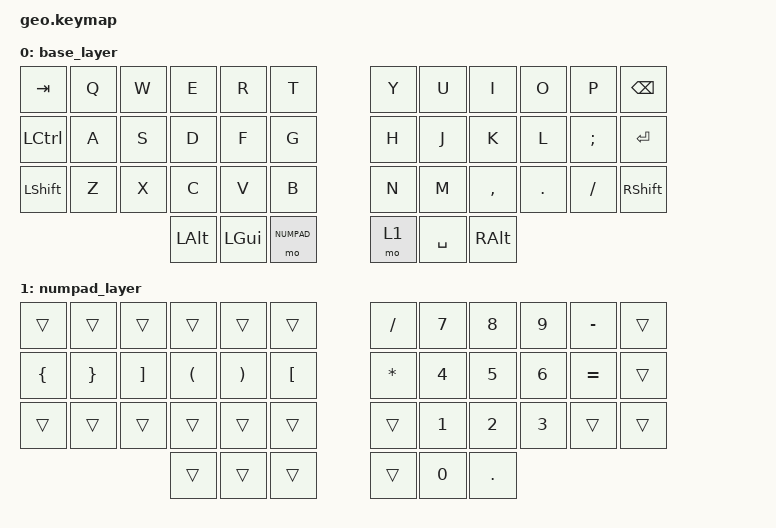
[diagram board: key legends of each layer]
/*
 * Copyright (c) 2020 The ZMK Contributors
 *
 * SPDX-License-Identifier: MIT
 */

#include <behaviors.dtsi>
#include <dt-bindings/zmk/keys.h>
#include <dt-bindings/zmk/bt.h>

#define BASE 0
#define NUMPAD 1

#define LCMD LGUI
#define LOPT LALT
#define RCMD RGUI
#define ROPT RALT

/ {
  keymap {
    compatible = "zmk,keymap";
    base_layer {
      bindings = <
// ┏━━━━━━━┯━━━━━━━┯━━━━━━━┯━━━━━━━┯━━━━━━━┯━━━━━━━┓     ┏━━━━━━━┯━━━━━━━┯━━━━━━━┯━━━━━━━┯━━━━━━━┯━━━━━━━┓
// ┃  TAB  │   Q   │   W   │   E   │   R   │   T   ┃     ┃   Y   │   U   │   I   │   O   │   P   │  BKSP ┃
// ┠───────┼───────┼───────┼───────┼───────┼───────┨     ┠───────┼───────┼───────┼───────┼───────┼───────┨
// ┃ CTRL  │   A   │   S   │   D   │   F   │   G   ┃     ┃   H   │   J   │   K   │   L   │   ;   │  RET  ┃
// ┠───────┼───────┼───────┼───────┼───────┼───────┨     ┠───────┼───────┼───────┼───────┼───────┼───────┨
// ┃ SHFT  │   Z   │   X   │   C   │   V   │   B   ┃     ┃   N   │   M   │   ,   │  .    │   /   │  SHFT ┃
// ┗━━━━━━━┷━━━━━━━┷━━━━━━━╅───────┼───────┼───────┨     ┠───────┼───────┼───────╆━━━━━━━┷━━━━━━━┷━━━━━━━┛
//                         ┃  OPT  │  CMD  │ NUMPD ┃     ┃ NUMPD │  SPC  │  OPT  ┃
//                         ┗━━━━━━━┷━━━━━━━┷━━━━━━━┛     ┗━━━━━━━┷━━━━━━━┷━━━━━━━┛
    &kp TAB    &kp Q  &kp W  &kp E    &kp R    &kp T      &kp Y    &kp U      &kp I      &kp O    &kp P     &kp BSPC
    &kp LCTRL  &kp A  &kp S  &kp D    &kp F    &kp G      &kp H    &kp J      &kp K      &kp L    &kp SEMI  &kp RET
    &kp LSHFT  &kp Z  &kp X  &kp C    &kp V    &kp B      &kp N    &kp M      &kp COMMA  &kp DOT  &kp FSLH  &kp RSHFT
                             &kp LOPT &kp LCMD &mo NUMPAD &mo 1    &kp SPACE  &kp ROPT
      >;
    };

    numpad_layer {
      bindings = <
// ┏━━━━━━━┯━━━━━━━┯━━━━━━━┯━━━━━━━┯━━━━━━━┯━━━━━━━┓     ┏━━━━━━━┯━━━━━━━┯━━━━━━━┯━━━━━━━┯━━━━━━━┯━━━━━━━┓
// ┃       │       │       │       │       │       ┃     ┃  / ?  │   7   │   8   │   9   │  - _  │       ┃
// ┠───────┼───────┼───────┼───────┼───────┼───────┨     ┠───────┼───────┼───────┼───────┼───────┼───────┨
// ┃   {   │   }   │   (   │   )   │   [   │   ]   ┃     ┃   *   │   4   │   5   │   6   │  = +  │       ┃
// ┠───────┼───────┼───────┼───────┼───────┼───────┨     ┠───────┼───────┼───────┼───────┼───────┼───────┨
// ┃       │       │       │       │       │       ┃     ┃       │   1   │   2   │   3   │       │       ┃
// ┗━━━━━━━┷━━━━━━━┷━━━━━━━╅───────┼───────┼───────┨     ┠───────┼───────┼───────╆━━━━━━━┷━━━━━━━┷━━━━━━━┛
//                         ┃       │       │       ┃     ┃       │   0   │   .   ┃
//                         ┗━━━━━━━┷━━━━━━━┷━━━━━━━┛     ┗━━━━━━━┷━━━━━━━┷━━━━━━━┛
    &trans   &trans   &trans   &trans   &trans   &trans   &kp SLASH  &kp N7  &kp N8  &kp N9  &kp MINUS &trans
    &kp LBRC &kp RBRC &kp RBKT &kp LPAR &kp RPAR &kp LBKT &kp STAR  &kp N4  &kp N5  &kp N6  &kp EQUAL  &trans
    &trans   &trans   &trans   &trans   &trans   &trans   &trans  &kp N1  &kp N2  &kp N3  &trans  &trans
                               &trans   &trans   &trans   &trans  &kp N0  &kp DOT
      >;
    };
};

// XXX_layer {
//   bindings = <
// ┏━━━━━━━┯━━━━━━━┯━━━━━━━┯━━━━━━━┯━━━━━━━┯━━━━━━━┓  ┏━━━━━━━┯━━━━━━━┯━━━━━━━┯━━━━━━━┯━━━━━━━┯━━━━━━━┓
// ┃       │       │       │       │       │       ┃  ┃       │       │       │       │       │       ┃
// ┠───────┼───────┼───────┼───────┼───────┼───────┨  ┠───────┼───────┼───────┼───────┼───────┼───────┨
// ┃       │       │       │       │       │       ┃  ┃       │       │       │       │       │       ┃
// ┠───────┼───────┼───────┼───────┼───────┼───────┨  ┠───────┼───────┼───────┼───────┼───────┼───────┨
// ┃       │       │       │       │       │       ┃  ┃       │       │       │       │       │       ┃
// ┗━━━━━━━┷━━━━━━━┷━━━━━━━╅───────┼───────┼───────┨  ┠───────┼───────┼───────╆━━━━━━━┷━━━━━━━┷━━━━━━━┛
//                         ┃       │       │       ┃  ┃       │       │       ┃
//                         ┗━━━━━━━┷━━━━━━━┷━━━━━━━┛  ┗━━━━━━━┷━━━━━━━┷━━━━━━━┛
// &trans   &trans  &trans  &trans  &trans  &trans     &trans  &trans  &trans  &trans  &trans  &trans
// &trans   &trans  &trans  &trans  &trans  &trans     &trans  &trans  &trans  &trans  &trans  &trans
// &trans   &trans  &trans  &trans  &trans  &trans     &trans  &trans  &trans  &trans  &trans  &trans
//                          &trans  &trans  &trans     &trans  &trans  &trans
//   >;
// };
